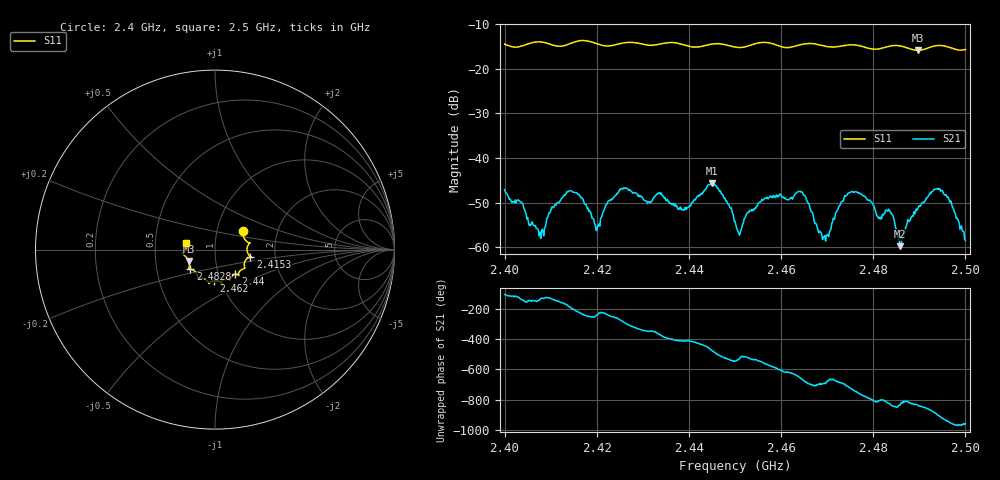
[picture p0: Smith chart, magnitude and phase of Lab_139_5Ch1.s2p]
# Hz S RI R 50
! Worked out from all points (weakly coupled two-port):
!   601 points, 2.4 GHz to 2.5 GHz, reference 50 ohm
!   highest |S21| = -45.70 dB at 2.445 GHz (marker M1); lowest = -59.7 dB at 2.4858 GHz (marker M2)
!   lowest |S11| = -15.9 dB at 2.4897 GHz (marker M3), VSWR 1.38, Z = 36.9 - j4.81 ohm
!   |S11| at or under -10 dB: start of sweep to end of sweep
!   S12 and S22 are empty: the file has one direction only
!   S11 on the Smith chart (normalised r, x): 2.4 GHz: 1.33, +0.29; 2.4153 GHz: 1.48, -0.12; 2.44 GHz: 1.21, -0.34; 2.462 GHz: 0.93, -0.33; 2.4828 GHz: 0.74, -0.17; 2.5 GHz: 0.72, +0.06
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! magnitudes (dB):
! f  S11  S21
! 2.4 GHz  -14.5  -47.1
! 2.408 GHz  -14.0  -56.5
! 2.4105 GHz  -14.7  -51.1
! 2.4153 GHz  -14.0  -47.7
! 2.4167 GHz  -13.7  -49.0
! 2.4202 GHz  -14.5  -55.2
! 2.4253 GHz  -14.3  -46.9
! 2.4333 GHz  -14.6  -47.8
! 2.44 GHz  -15.0  -50.9
! 2.445 GHz  -14.5  -45.7
! 2.45 GHz  -15.1  -54.1
! 2.462 GHz  -15.2  -49.1
! 2.4643 GHz  -14.6  -47.6
! 2.4667 GHz  -14.4  -52.1
! 2.4695 GHz  -14.9  -57.4
! 2.475 GHz  -14.7  -47.7
! 2.4828 GHz  -15.1  -51.6
! 2.4833 GHz  -15.0  -51.5
! 2.4858 GHz  -14.9  -59.7
! 2.4897 GHz  -15.9  -51.3
! 2.4947 GHz  -14.8  -47.4
! 2.5 GHz  -15.7  -58.4
